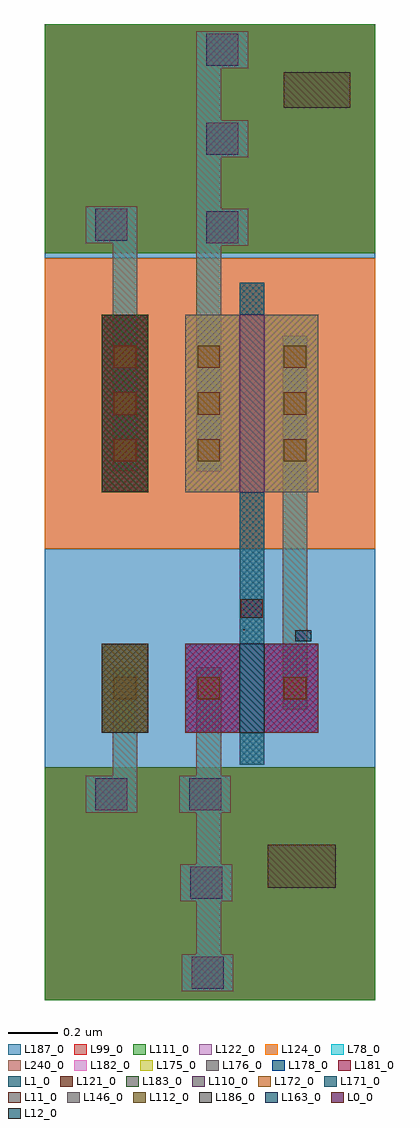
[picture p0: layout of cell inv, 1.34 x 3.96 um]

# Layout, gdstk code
import gdstk
lib = gdstk.Library(unit=1e-6, precision=1e-09)
def R(c, l, rs):  # rectangles x0, y0, x1, y1
    for r in rs: c.add(gdstk.rectangle(r[:2], r[2:], *l))
def A(c, l, x, y, w, h, nx, ny, dx, dy):  # array of equal rectangles
    R(c, l, [(x+i*dx, y+j*dy, x+i*dx+w, y+j*dy+h) for i in range(nx) for j in range(ny)])
def P(c, l, *ps):  # polygons
    for p in ps: c.add(gdstk.Polygon(p, *l))
L0_0 = (0, 0)
L1_0 = (1, 0)
L11_0 = (11, 0)
L12_0 = (12, 0)
L78_0 = (78, 0)
L99_0 = (99, 0)
L110_0 = (110, 0)
L111_0 = (111, 0)
L112_0 = (112, 0)
L121_0 = (121, 0)
L122_0 = (122, 0)
L124_0 = (124, 0)
L146_0 = (146, 0)
L163_0 = (163, 0)
L171_0 = (171, 0)
L172_0 = (172, 0)
L175_0 = (175, 0)
L176_0 = (176, 0)
L178_0 = (178, 0)
L181_0 = (181, 0)
L182_0 = (182, 0)
L183_0 = (183, 0)
L186_0 = (186, 0)
L187_0 = (187, 0)
L240_0 = (240, 0)

inv = lib.new_cell('inv')
R(inv, L0_0, [(-3.16,-1.405,-3.155,-1.4), (-3.17,-1.355,-3.08,-1.28)])
R(inv, L1_0, [(-3.175,-1.95,-3.075,0.005)])
R(inv, L11_0, [(-3.06,-2.45,-2.785,-2.275), (-2.995,0.715,-2.725,0.86)])
R(inv, L12_0, [(-2.95,-1.45,-2.885,-1.405)])
R(inv, L78_0, [(-3,-1.725,-2.9,-0.21)])
P(inv, L78_0, [(-3.59,0.315),(-3.59,-0.76),(-3.69,-0.76),(-3.69,0.165),(-3.8,0.165),(-3.8,0.315)],
  [(-3.14,1.025),(-3.14,0.875),(-3.25,0.875),(-3.25,0.665),(-3.14,0.665),(-3.14,0.515),(-3.25,0.515),(-3.25,0.305),(-3.14,0.305),(-3.14,0.155),(-3.25,0.155),(-3.25,-0.76),(-3.35,-0.76),(-3.35,1.025)],
  [(-3.59,-1.555),(-3.59,-2.145),(-3.8,-2.145),(-3.8,-1.995),(-3.69,-1.995),(-3.69,-1.555)],
  [(-3.25,-1.555),(-3.25,-1.995),(-3.21,-1.995),(-3.21,-2.145),(-3.25,-2.145),(-3.25,-2.355),(-3.205,-2.355),(-3.205,-2.505),(-3.25,-2.505),(-3.25,-2.72),(-3.2,-2.72),(-3.2,-2.87),(-3.41,-2.87),(-3.41,-2.72),(-3.35,-2.72),(-3.35,-2.505),(-3.415,-2.505),(-3.415,-2.355),(-3.35,-2.355),(-3.35,-2.145),(-3.42,-2.145),(-3.42,-1.995),(-3.35,-1.995),(-3.35,-1.555)])
R(inv, L99_0, [(-3.965,-2.905,-2.625,-1.96), (-3.965,0.125,-2.625,1.055)])
A(inv, L110_0, -3.31, 0.165, 0.13, 0.13, 1, 3, 0, 0.36)
R(inv, L110_0, [(-3.37,-2.86,-3.24,-2.73), (-3.375,-2.495,-3.245,-2.365), (-3.76,-2.135,-3.63,-2.005), (-3.38,-2.135,-3.25,-2.005), (-3.76,0.175,-3.63,0.305)])
R(inv, L111_0, [(-3.965,-2.905,-2.625,-1.96), (-3.965,0.125,-2.625,1.055)])
R(inv, L112_0, [(-3.735,-1.82,-3.545,-1.46)])
R(inv, L121_0, [(-3.735,-0.845,-3.545,-0.125)])
R(inv, L122_0, [(-3.965,-1.075,-2.625,0.105)])
R(inv, L124_0, [(-3.965,-1.075,-2.625,0.105)])
R(inv, L146_0, [(-3.175,-0.845,-3.075,-0.125)])
R(inv, L163_0, [(-3.175,-1.82,-3.075,-1.46)])
R(inv, L171_0, [(-3.175,-1.95,-3.075,-1.82), (-3.175,-1.46,-3.075,-0.845), (-3.175,-0.125,-3.075,0.005)])
A(inv, L172_0, -3.685, -0.72, 0.09, 0.09, 1, 3, 0, 0.19)
A(inv, L172_0, -3.345, -0.72, 0.09, 0.09, 1, 3, 0, 0.19)
A(inv, L172_0, -2.995, -0.72, 0.09, 0.09, 1, 3, 0, 0.19)
R(inv, L172_0, [(-3.685,-1.685,-3.595,-1.595), (-3.345,-1.685,-3.255,-1.595), (-2.995,-1.685,-2.905,-1.595)])
R(inv, L175_0, [(-3.735,-1.82,-3.545,-1.46), (-3.395,-0.845,-3.175,-0.125), (-3.075,-0.845,-2.855,-0.125)])
R(inv, L176_0, [(-3.735,-1.82,-3.545,-1.46), (-3.395,-0.845,-3.175,-0.125), (-3.075,-0.845,-2.855,-0.125)])
R(inv, L178_0, [(-3.395,-1.82,-3.175,-1.46), (-3.075,-1.82,-2.855,-1.46), (-3.735,-0.845,-3.545,-0.125)])
R(inv, L181_0, [(-3.395,-1.82,-3.175,-1.46), (-3.075,-1.82,-2.855,-1.46), (-3.735,-0.845,-3.545,-0.125)])
R(inv, L182_0, [(-3.735,-1.82,-3.545,-1.46), (-3.395,-1.82,-3.175,-1.46), (-3.075,-1.82,-2.855,-1.46), (-3.735,-0.845,-3.545,-0.125), (-3.395,-0.845,-3.175,-0.125), (-3.075,-0.845,-2.855,-0.125)])
R(inv, L183_0, [(-3.735,-0.845,-3.545,-0.125)])
R(inv, L186_0, [(-3.735,-1.82,-3.545,-1.46)])
R(inv, L187_0, [(-3.965,-2.905,-2.625,-1.075), (-3.965,0.105,-2.625,1.055)])
R(inv, L240_0, [(-3,-1.725,-2.9,-0.21)])
P(inv, L240_0, [(-3.59,0.315),(-3.59,-0.76),(-3.69,-0.76),(-3.69,0.165),(-3.8,0.165),(-3.8,0.315)],
  [(-3.14,1.025),(-3.14,0.875),(-3.25,0.875),(-3.25,0.665),(-3.14,0.665),(-3.14,0.515),(-3.25,0.515),(-3.25,0.305),(-3.14,0.305),(-3.14,0.155),(-3.25,0.155),(-3.25,-0.76),(-3.35,-0.76),(-3.35,1.025)],
  [(-3.59,-1.555),(-3.59,-2.145),(-3.8,-2.145),(-3.8,-1.995),(-3.69,-1.995),(-3.69,-1.555)],
  [(-3.25,-1.555),(-3.25,-1.995),(-3.21,-1.995),(-3.21,-2.145),(-3.25,-2.145),(-3.25,-2.355),(-3.205,-2.355),(-3.205,-2.505),(-3.25,-2.505),(-3.25,-2.72),(-3.2,-2.72),(-3.2,-2.87),(-3.41,-2.87),(-3.41,-2.72),(-3.35,-2.72),(-3.35,-2.505),(-3.415,-2.505),(-3.415,-2.355),(-3.35,-2.355),(-3.35,-2.145),(-3.42,-2.145),(-3.42,-1.995),(-3.35,-1.995),(-3.35,-1.555)])

lib.write_gds('inv.gds')
